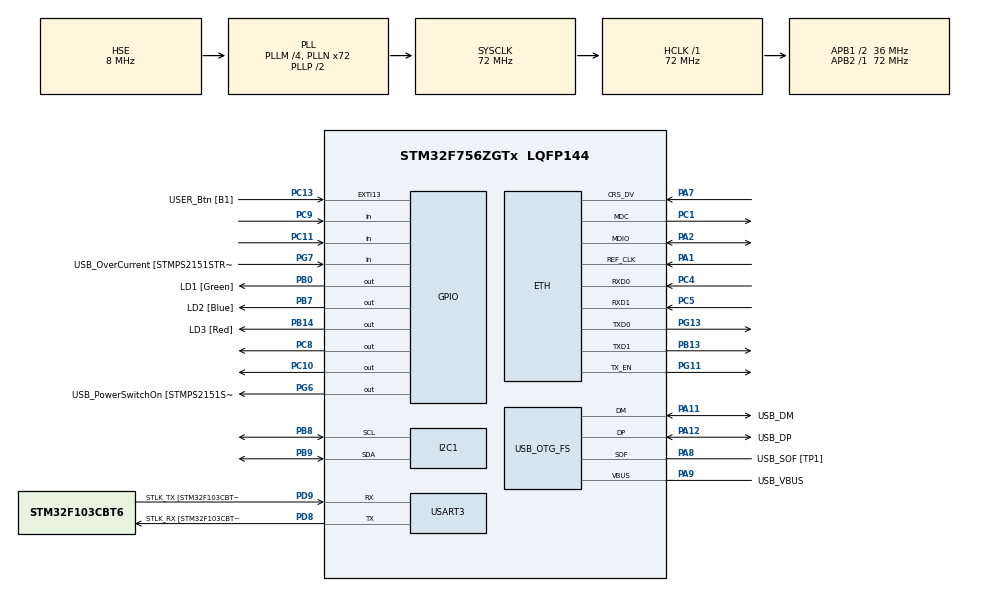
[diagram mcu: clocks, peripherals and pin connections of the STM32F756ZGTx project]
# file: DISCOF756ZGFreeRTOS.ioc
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CORTEX_M7.Enable-Cortex_Memory_Protection_Unit_Region0_Settings=MPU_REGION_ENABLE
CORTEX_M7.MPU_Control=MPU_PRIVILEGED_DEFAULT
CORTEX_M7.Size-Cortex_Memory_Protection_Unit_Region0_Settings=MPU_REGION_SIZE_32B
CORTEX_M7.default_mode_Activation=1
CRYP.Algorithm=CRYP_AES_GCM
ETH.MediaInterface=HAL_ETH_RMII_MODE
FREERTOS.Queues01=flashQueue,1,uint32_t,0,Dynamic,NULL,NULL
FREERTOS.Tasks01=defaultTask,0,4096,StartDefaultTask,Default,NULL,Dynamic,NULL,NULL;InputTask,0,4096,StartInputTask,Default,NULL,Dynamic,NULL,NULL;mqtt_task,-2,16384,Handle_MQTT,Default,NULL,Dynamic,NULL,NULL;networkTask,0,8192,NetworkTask_Cycle,Default,NULL,Dynamic,NULL,NULL;saveFlash,-1,512,SaveFlashMemory,Default,NULL,Dynamic,NULL,NULL
FREERTOS.configTOTAL_HEAP_SIZE=163840
FREERTOS.configUSE_NEWLIB_REENTRANT=1
HASH.SecureHashAlgorithmType=SHA256
HASH.pKey=__NULL
I2C1.Timing=0x00808CD2
LWIP.BSP.number=1
LWIP.CMSIS_VERSION-Enabled=1
LWIP.DEFAULT_THREAD_STACKSIZE=2048
LWIP.GATEWAY_ADDRESS=192.168.002.001
LWIP.IP_ADDRESS=192.168.002.168
LWIP.LWIP_ALTCP=1
LWIP.LWIP_ALTCP_TLS=1
LWIP.LWIP_DHCP=0
LWIP.LWIP_HTTPD=1
LWIP.LWIP_SMTP=0
LWIP.LWIP_SNTP=1
LWIP.MEMP_NUM_SYS_TIMEOUT=15
LWIP.MEMP_NUM_TCP_PCB=8
LWIP.MEM_SIZE=10*1024
LWIP.NETMASK_ADDRESS=255.255.255.000
LWIP.TCPIP_THREAD_PRIO=5
LWIP.TCPIP_THREAD_STACKSIZE=4096
LWIP.Version=v2.1.2_Cube
LWIP0.BSP.STBoard=false
LWIP0.BSP.api=BSP_COMPONENT_DRIVER
LWIP0.BSP.component=LAN8742
LWIP0.BSP.instance=LAN8742
LWIP0.BSP.name=Driver_PHY
LWIP0.BSP.semaphore=S_LAN8742
LWIP0.BSP.solution=LAN8742
Mcu.Family=STM32F7
Mcu.Name=STM32F756ZGTx
Mcu.Package=LQFP144
NVIC.ETH_IRQn=true\:5\:0\:false\:false\:true\:true\:false\:true\:true
NVIC.PriorityGroup=NVIC_PRIORITYGROUP_4
NVIC.TIM6_DAC_IRQn=true\:15\:0\:false\:false\:true\:false\:false\:true\:true
NVIC.TimeBase=TIM6_DAC_IRQn
NVIC.TimeBaseIP=TIM6
PA1.GPIO_Mode=GPIO_MODE_AF_PP
PA1.GPIO_PuPd=GPIO_NOPULL
PA1.GPIO_Speed_Default_HIGH=GPIO_SPEED_FREQ_HIGH
PA1.Mode=RMII
PA1.Signal=ETH_REF_CLK
PA10.GPIO_Label=USB_ID
PA10.Signal=USB_OTG_FS_ID
PA11.GPIO_Label=USB_DM
PA11.Mode=Device_Only
PA11.Signal=USB_OTG_FS_DM
PA12.GPIO_Label=USB_DP
PA12.Mode=Device_Only
PA12.Signal=USB_OTG_FS_DP
PA13.GPIO_Label=TMS
PA13.Mode=Serial_Wire
PA13.Signal=SYS_JTMS-SWDIO
PA14.GPIO_Label=TCK
PA14.Mode=Serial_Wire
PA14.Signal=SYS_JTCK-SWCLK
PA2.GPIO_Mode=GPIO_MODE_AF_PP
PA2.GPIO_PuPd=GPIO_NOPULL
PA2.GPIO_Speed_Default_HIGH=GPIO_SPEED_FREQ_HIGH
PA2.Mode=RMII
PA2.Signal=ETH_MDIO
PA7.GPIO_Mode=GPIO_MODE_AF_PP
PA7.GPIO_PuPd=GPIO_NOPULL
PA7.GPIO_Speed_Default_HIGH=GPIO_SPEED_FREQ_HIGH
PA7.Mode=RMII
PA7.Signal=ETH_CRS_DV
PA8.GPIO_Label=USB_SOF [TP1]
PA8.Mode=Activate_SOF_FS
PA8.Signal=USB_OTG_FS_SOF
PA9.GPIO_Label=USB_VBUS
PA9.Mode=Activate_VBUS
PA9.Signal=USB_OTG_FS_VBUS
PB0.GPIO_Label=LD1 [Green]
PB0.Signal=GPIO_Output
PB13.GPIO_Mode=GPIO_MODE_AF_PP
PB13.GPIO_PuPd=GPIO_NOPULL
PB13.GPIO_Speed_Default_HIGH=GPIO_SPEED_FREQ_HIGH
PB13.Mode=RMII
PB13.Signal=ETH_TXD1
PB14.GPIO_Label=LD3 [Red]
PB14.Signal=GPIO_Output
PB3.GPIO_Label=SW0
PB3.Signal=SYS_JTDO-SWO
PB7.GPIO_Label=LD2 [Blue]
PB7.Signal=GPIO_Output
PB8.Mode=I2C
PB8.Signal=I2C1_SCL
PB9.Mode=I2C
PB9.Signal=I2C1_SDA
PC1.GPIO_Mode=GPIO_MODE_AF_PP
PC1.GPIO_PuPd=GPIO_NOPULL
PC1.GPIO_Speed_Default_HIGH=GPIO_SPEED_FREQ_HIGH
PC1.Mode=RMII
PC1.Signal=ETH_MDC
PC10.Signal=GPIO_Output
PC11.GPIO_PuPd=GPIO_PULLUP
PC11.Signal=GPIO_Input
PC13.GPIO_Label=USER_Btn [B1]
PC13.Signal=GPXTI13
PC14/OSC32_IN.Mode=LSE-External-Oscillator
PC14/OSC32_IN.Signal=RCC_OSC32_IN
PC15/OSC32_OUT.Mode=LSE-External-Oscillator
PC15/OSC32_OUT.Signal=RCC_OSC32_OUT
PC4.GPIO_Mode=GPIO_MODE_AF_PP
PC4.GPIO_PuPd=GPIO_NOPULL
PC4.GPIO_Speed_Default_HIGH=GPIO_SPEED_FREQ_HIGH
PC4.Mode=RMII
PC4.Signal=ETH_RXD0
PC5.GPIO_Mode=GPIO_MODE_AF_PP
PC5.GPIO_PuPd=GPIO_NOPULL
PC5.GPIO_Speed_Default_HIGH=GPIO_SPEED_FREQ_HIGH
PC5.Mode=RMII
PC5.Signal=ETH_RXD1
PC8.Signal=GPIO_Output
PC9.GPIO_PuPd=GPIO_PULLUP
PC9.Signal=GPIO_Input
PD8.GPIO_Label=STLK_RX [STM32F103CBT6_PA3]
PD8.Mode=Asynchronous
PD8.Signal=USART3_TX
PD9.GPIO_Label=STLK_TX [STM32F103CBT6_PA2]
PD9.Mode=Asynchronous
PD9.Signal=USART3_RX
PG11.GPIO_Mode=GPIO_MODE_AF_PP
PG11.GPIO_PuPd=GPIO_NOPULL
PG11.GPIO_Speed_Default_HIGH=GPIO_SPEED_FREQ_HIGH
PG11.Mode=RMII
PG11.Signal=ETH_TX_EN
PG13.GPIO_Mode=GPIO_MODE_AF_PP
PG13.GPIO_PuPd=GPIO_NOPULL
PG13.GPIO_Speed_Default_HIGH=GPIO_SPEED_FREQ_HIGH
PG13.Mode=RMII
PG13.Signal=ETH_TXD0
PG6.GPIO_Label=USB_PowerSwitchOn [STMPS2151STR_EN]
PG6.Signal=GPIO_Output
PG7.GPIO_Label=USB_OverCurrent [STMPS2151STR_FAULT]
PG7.Signal=GPIO_Input
PH0/OSC_IN.GPIO_Label=MCO [STM32F103CBT6_PA8]
PH0/OSC_IN.Mode=HSE-External-Clock-Source
PH0/OSC_IN.Signal=RCC_OSC_IN
PH1/OSC_OUT.Mode=HSE-External-Clock-Source
PH1/OSC_OUT.Signal=RCC_OSC_OUT
ProjectManager.HeapSize=0x200
ProjectManager.StackSize=0x400
ProjectManager.TargetToolchain=STM32CubeIDE
RCC.48MHZClocksFreq_Value=24000000
RCC.AHBFreq_Value=72000000
RCC.APB1CLKDivider=RCC_HCLK_DIV2
RCC.APB1Freq_Value=36000000
RCC.APB1TimFreq_Value=72000000
RCC.APB2Freq_Value=72000000
RCC.APB2TimFreq_Value=72000000
RCC.CortexFreq_Value=72000000
RCC.HCLKFreq_Value=72000000
RCC.HSE_VALUE=8000000
RCC.HSI_VALUE=16000000
RCC.PLLM=4
RCC.PLLMUL=RCC_PLL_MUL9
RCC.PLLN=72
RCC.PLLQ=3
RCC.PRESCALERUSB=RCC_USBCLKSOURCE_PLL_DIV1_5
RCC.RTCClockSelection=RCC_RTCCLKSOURCE_LSE
RCC.SYSCLKFreq_VALUE=72000000
RCC.SYSCLKSource=RCC_SYSCLKSOURCE_PLLCLK
RCC.SYSCLKSourceVirtual=RCC_SYSCLKSOURCE_PLLCLK
RCC.USBFreq_Value=48000000
RCC.VCOOutputFreq_Value=144000000
USART3.VirtualMode-Asynchronous=VM_ASYNC
USB_OTG_FS.VirtualMode=Device_Only
VP_CRYP_VS_CRYP.Mode=CRYP_Activate
VP_FREERTOS_VS_CMSIS_V1.Mode=CMSIS_V1
VP_HASH_VS_HASH.Mode=HASH_Activate
VP_LWIP_VS_Enabled.Mode=Enabled
VP_MBEDTLS_VS_MBEDTLS.Mode=Enabled
VP_RNG_VS_RNG.Mode=RNG_Activate
VP_RTC_VS_RTC_Activate.Mode=RTC_Enabled
VP_RTC_VS_RTC_Calendar.Mode=RTC_Calendar
VP_SYS_VS_tim6.Mode=TIM6
board=NUCLEO-F756ZG

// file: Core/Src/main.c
/* USER CODE BEGIN Header */
/**
  ******************************************************************************
  * @file           : main.c
  * @brief          : Main program body
  ******************************************************************************
  * @attention
  *
  * Copyright (c) 2026 STMicroelectronics.
  * All rights reserved.
  *
  * This software is licensed under terms that can be found in the LICENSE file
  * in the root directory of this software component.
  * If no LICENSE file comes with this software, it is provided AS-IS.
  *
  ******************************************************************************
  */
/* USER CODE END Header */
#include "main.h"
#include "cmsis_os.h"
#include "mbedtls.h"

/* USER CODE BEGIN Includes */
#include "cycle.h"
#include "stdio.h"
#include "stm32f7xx_hal.h"
#include "core_cm7.h" // ITM_SendChar

#include "mqtt.h"
#include "NetworkCycle.h"

#include "saveFlashCycle.h"

#include "utils.h"

/* USER CODE END Includes */

/* USER CODE BEGIN PD */
osSemaphoreId sntpSyncSemHandle; //semaforo per sincronizzazione SNTP e TLS
RNG_HandleTypeDef hrng;

/* USER CODE END PD */

CRYP_HandleTypeDef hcryp;
__ALIGN_BEGIN static const uint32_t pKeyCRYP[4] __ALIGN_END = {
                            0x00000000,0x00000000,0x00000000,0x00000000};
__ALIGN_BEGIN static const uint32_t pInitVectCRYP[4] __ALIGN_END = {
                            0x00000000,0x00000000,0x00000000,0x00000002};
__ALIGN_BEGIN static const uint32_t HeaderCRYP[1] __ALIGN_END = {
                            0x00000000};

HASH_HandleTypeDef hhash;

I2C_HandleTypeDef hi2c1;

RNG_HandleTypeDef hrng;

RTC_HandleTypeDef hrtc;

UART_HandleTypeDef huart3;

PCD_HandleTypeDef hpcd_USB_OTG_FS;

osThreadId defaultTaskHandle;
osThreadId InputTaskHandle;
osThreadId mqtt_taskHandle;
osThreadId networkTaskHandle;
osThreadId saveFlashHandle;
osMessageQId flashQueueHandle;
/* USER CODE BEGIN PV */

extern void MX_LWIP_Init(void);

/* USER CODE END PV */

void SystemClock_Config(void);
static void MPU_Config(void);
static void MX_GPIO_Init(void);
static void MX_I2C1_Init(void);
static void MX_USART3_UART_Init(void);
static void MX_USB_OTG_FS_PCD_Init(void);
static void MX_RTC_Init(void);
static void MX_CRYP_Init(void);
static void MX_HASH_Init(void);
static void MX_RNG_Init(void);
void StartDefaultTask(void const * argument);
void StartInputTask(void const * argument);
void Handle_MQTT(void const * argument);
void NetworkTask_Cycle(void const * argument);
void SaveFlashMemory(void const * argument);

/* USER CODE BEGIN 0 */
int _write(int file, char *ptr, int len)
{
    for (int i = 0; i < len; i++)
        ITM_SendChar(ptr[i]);
    return len;
}

/* USER CODE END 0 */

int main(void)
{

  /* MPU Configuration--------------------------------------------------------*/
  MPU_Config();

  /* MCU Configuration--------------------------------------------------------*/

  /* Reset of all peripherals, Initializes the Flash interface and the Systick. */
  HAL_Init();

  /* Configure the system clock */
  SystemClock_Config();

  /* Initialize all configured peripherals */
  MX_GPIO_Init();
  MX_I2C1_Init();
  MX_USART3_UART_Init();
  MX_USB_OTG_FS_PCD_Init();
  MX_RTC_Init();
  MX_CRYP_Init();
  MX_HASH_Init();
  MX_RNG_Init();
  /* Call PreOsInit function */
  MX_MBEDTLS_Init();
  /* USER CODE BEGIN 2 */

  //semaforo per sincronizzazione SNTP con TLS
  osSemaphoreDef(sntpSyncSem);
  sntpSyncSemHandle = osSemaphoreCreate(osSemaphore(sntpSyncSem), 1);
  osSemaphoreWait(sntpSyncSemHandle, 0);

  /* USER CODE END 2 */

  /* Create the queue(s) */
  /* definition and creation of flashQueue */
  osMessageQDef(flashQueue, 1, uint32_t);
  flashQueueHandle = osMessageCreate(osMessageQ(flashQueue), NULL);

  /* Create the thread(s) */
  /* definition and creation of defaultTask */
  osThreadDef(defaultTask, StartDefaultTask, osPriorityNormal, 0, 4096);
  defaultTaskHandle = osThreadCreate(osThread(defaultTask), NULL);

  /* definition and creation of InputTask */
  osThreadDef(InputTask, StartInputTask, osPriorityNormal, 0, 4096);
  InputTaskHandle = osThreadCreate(osThread(InputTask), NULL);

  /* definition and creation of mqtt_task */
  osThreadDef(mqtt_task, Handle_MQTT, osPriorityLow, 0, 16384);
  mqtt_taskHandle = osThreadCreate(osThread(mqtt_task), NULL);

  /* definition and creation of networkTask */
  osThreadDef(networkTask, NetworkTask_Cycle, osPriorityNormal, 0, 8192);
  networkTaskHandle = osThreadCreate(osThread(networkTask), NULL);

  /* definition and creation of saveFlash */
  osThreadDef(saveFlash, SaveFlashMemory, osPriorityBelowNormal, 0, 512);
  saveFlashHandle = osThreadCreate(osThread(saveFlash), NULL);

  /* Start scheduler */
  osKernelStart();

  /* We should never get here as control is now taken by the scheduler */

  /* Infinite loop */
  while (1)
  {

  }
}

void SystemClock_Config(void)
{
  RCC_OscInitTypeDef RCC_OscInitStruct = {0};
  RCC_ClkInitTypeDef RCC_ClkInitStruct = {0};

  /** Configure LSE Drive Capability
  */
  HAL_PWR_EnableBkUpAccess();
  __HAL_RCC_LSEDRIVE_CONFIG(RCC_LSEDRIVE_LOW);

  /** Configure the main internal regulator output voltage
  */
  __HAL_RCC_PWR_CLK_ENABLE();
  __HAL_PWR_VOLTAGESCALING_CONFIG(PWR_REGULATOR_VOLTAGE_SCALE3);

  /** Initializes the RCC Oscillators according to the specified parameters
  * in the RCC_OscInitTypeDef structure.
  */
  RCC_OscInitStruct.OscillatorType = RCC_OSCILLATORTYPE_HSE|RCC_OSCILLATORTYPE_LSE;
  RCC_OscInitStruct.HSEState = RCC_HSE_BYPASS;
  RCC_OscInitStruct.LSEState = RCC_LSE_ON;
  RCC_OscInitStruct.PLL.PLLState = RCC_PLL_ON;
  RCC_OscInitStruct.PLL.PLLSource = RCC_PLLSOURCE_HSE;
  RCC_OscInitStruct.PLL.PLLM = 4;
  RCC_OscInitStruct.PLL.PLLN = 72;
  RCC_OscInitStruct.PLL.PLLP = RCC_PLLP_DIV2;
  RCC_OscInitStruct.PLL.PLLQ = 3;
  if (HAL_RCC_OscConfig(&RCC_OscInitStruct) != HAL_OK)
  {
    Error_Handler();
  }

  /** Initializes the CPU, AHB and APB buses clocks
  */
  RCC_ClkInitStruct.ClockType = RCC_CLOCKTYPE_HCLK|RCC_CLOCKTYPE_SYSCLK
                              |RCC_CLOCKTYPE_PCLK1|RCC_CLOCKTYPE_PCLK2;
  RCC_ClkInitStruct.SYSCLKSource = RCC_SYSCLKSOURCE_PLLCLK;
  RCC_ClkInitStruct.AHBCLKDivider = RCC_SYSCLK_DIV1;
  RCC_ClkInitStruct.APB1CLKDivider = RCC_HCLK_DIV2;
  RCC_ClkInitStruct.APB2CLKDivider = RCC_HCLK_DIV1;

  if (HAL_RCC_ClockConfig(&RCC_ClkInitStruct, FLASH_LATENCY_2) != HAL_OK)
  {
    Error_Handler();
  }
}

static void MX_CRYP_Init(void)
{

  hcryp.Instance = CRYP;
  hcryp.Init.DataType = CRYP_DATATYPE_32B;
  hcryp.Init.KeySize = CRYP_KEYSIZE_128B;
  hcryp.Init.pKey = (uint32_t *)pKeyCRYP;
  hcryp.Init.pInitVect = (uint32_t *)pInitVectCRYP;
  hcryp.Init.Algorithm = CRYP_AES_GCM;
  hcryp.Init.Header = (uint32_t *)HeaderCRYP;
  hcryp.Init.HeaderSize = 1;
  hcryp.Init.DataWidthUnit = CRYP_DATAWIDTHUNIT_WORD;
  if (HAL_CRYP_Init(&hcryp) != HAL_OK)
  {
    Error_Handler();
  }

}

static void MX_HASH_Init(void)
{

  hhash.Init.DataType = HASH_DATATYPE_32B;
  if (HAL_HASH_Init(&hhash) != HAL_OK)
  {
    Error_Handler();
  }

}

static void MX_I2C1_Init(void)
{

  hi2c1.Instance = I2C1;
  hi2c1.Init.Timing = 0x00808CD2;
  hi2c1.Init.OwnAddress1 = 0;
  hi2c1.Init.AddressingMode = I2C_ADDRESSINGMODE_7BIT;
  hi2c1.Init.DualAddressMode = I2C_DUALADDRESS_DISABLE;
  hi2c1.Init.OwnAddress2 = 0;
  hi2c1.Init.OwnAddress2Masks = I2C_OA2_NOMASK;
  hi2c1.Init.GeneralCallMode = I2C_GENERALCALL_DISABLE;
  hi2c1.Init.NoStretchMode = I2C_NOSTRETCH_DISABLE;
  if (HAL_I2C_Init(&hi2c1) != HAL_OK)
  {
    Error_Handler();
  }

  /** Configure Analogue filter
  */
  if (HAL_I2CEx_ConfigAnalogFilter(&hi2c1, I2C_ANALOGFILTER_ENABLE) != HAL_OK)
  {
    Error_Handler();
  }

  /** Configure Digital filter
  */
  if (HAL_I2CEx_ConfigDigitalFilter(&hi2c1, 0) != HAL_OK)
  {
    Error_Handler();
  }

}

static void MX_RNG_Init(void)
{

  hrng.Instance = RNG;
  if (HAL_RNG_Init(&hrng) != HAL_OK)
  {
    Error_Handler();
  }

}

static void MX_RTC_Init(void)
{

  RTC_TimeTypeDef sTime = {0};
  RTC_DateTypeDef sDate = {0};

  /** Initialize RTC Only
  */
  hrtc.Instance = RTC;
  hrtc.Init.HourFormat = RTC_HOURFORMAT_24;
  hrtc.Init.AsynchPrediv = 127;
  hrtc.Init.SynchPrediv = 255;
  hrtc.Init.OutPut = RTC_OUTPUT_DISABLE;
  hrtc.Init.OutPutPolarity = RTC_OUTPUT_POLARITY_HIGH;
  hrtc.Init.OutPutType = RTC_OUTPUT_TYPE_OPENDRAIN;
  if (HAL_RTC_Init(&hrtc) != HAL_OK)
  {
    Error_Handler();
  }

  /** Initialize RTC and set the Time and Date
  */
  sTime.Hours = 0x0;
  sTime.Minutes = 0x0;
  sTime.Seconds = 0x0;
  sTime.DayLightSaving = RTC_DAYLIGHTSAVING_NONE;
  sTime.StoreOperation = RTC_STOREOPERATION_RESET;
  if (HAL_RTC_SetTime(&hrtc, &sTime, RTC_FORMAT_BCD) != HAL_OK)
  {
    Error_Handler();
  }
  sDate.WeekDay = RTC_WEEKDAY_MONDAY;
  sDate.Month = RTC_MONTH_JANUARY;
  sDate.Date = 0x1;
  sDate.Year = 0x0;

  if (HAL_RTC_SetDate(&hrtc, &sDate, RTC_FORMAT_BCD) != HAL_OK)
  {
    Error_Handler();
  }

}

static void MX_USART3_UART_Init(void)
{

  huart3.Instance = USART3;
  huart3.Init.BaudRate = 115200;
  huart3.Init.WordLength = UART_WORDLENGTH_8B;
  huart3.Init.StopBits = UART_STOPBITS_1;
  huart3.Init.Parity = UART_PARITY_NONE;
  huart3.Init.Mode = UART_MODE_TX_RX;
  huart3.Init.HwFlowCtl = UART_HWCONTROL_NONE;
  huart3.Init.OverSampling = UART_OVERSAMPLING_16;
  huart3.Init.OneBitSampling = UART_ONE_BIT_SAMPLE_DISABLE;
  huart3.AdvancedInit.AdvFeatureInit = UART_ADVFEATURE_NO_INIT;
  if (HAL_UART_Init(&huart3) != HAL_OK)
  {
    Error_Handler();
  }

}

static void MX_USB_OTG_FS_PCD_Init(void)
{

  hpcd_USB_OTG_FS.Instance = USB_OTG_FS;
  hpcd_USB_OTG_FS.Init.dev_endpoints = 6;
  hpcd_USB_OTG_FS.Init.speed = PCD_SPEED_FULL;
  hpcd_USB_OTG_FS.Init.dma_enable = DISABLE;
  hpcd_USB_OTG_FS.Init.phy_itface = PCD_PHY_EMBEDDED;
  hpcd_USB_OTG_FS.Init.Sof_enable = ENABLE;
  hpcd_USB_OTG_FS.Init.low_power_enable = DISABLE;
  hpcd_USB_OTG_FS.Init.lpm_enable = DISABLE;
  hpcd_USB_OTG_FS.Init.vbus_sensing_enable = ENABLE;
  hpcd_USB_OTG_FS.Init.use_dedicated_ep1 = DISABLE;
  if (HAL_PCD_Init(&hpcd_USB_OTG_FS) != HAL_OK)
  {
    Error_Handler();
  }

}

static void MX_GPIO_Init(void)
{
  GPIO_InitTypeDef GPIO_InitStruct = {0};

  /* GPIO Ports Clock Enable */
  __HAL_RCC_GPIOC_CLK_ENABLE();
  __HAL_RCC_GPIOH_CLK_ENABLE();
  __HAL_RCC_GPIOA_CLK_ENABLE();
  __HAL_RCC_GPIOB_CLK_ENABLE();
  __HAL_RCC_GPIOD_CLK_ENABLE();
  __HAL_RCC_GPIOG_CLK_ENABLE();

  /*Configure GPIO pin Output Level */
  HAL_GPIO_WritePin(GPIOB, LD1_Pin|LD3_Pin|LD2_Pin, GPIO_PIN_RESET);

  /*Configure GPIO pin Output Level */
  HAL_GPIO_WritePin(USB_PowerSwitchOn_GPIO_Port, USB_PowerSwitchOn_Pin, GPIO_PIN_RESET);

  /*Configure GPIO pin Output Level */
  HAL_GPIO_WritePin(GPIOC, GPIO_PIN_8|GPIO_PIN_10, GPIO_PIN_RESET);

  /*Configure GPIO pin : USER_Btn_Pin */
  GPIO_InitStruct.Pin = USER_Btn_Pin;
  GPIO_InitStruct.Mode = GPIO_MODE_IT_RISING;
  GPIO_InitStruct.Pull = GPIO_NOPULL;
  HAL_GPIO_Init(USER_Btn_GPIO_Port, &GPIO_InitStruct);

  /*Configure GPIO pins : LD1_Pin LD3_Pin LD2_Pin */
  GPIO_InitStruct.Pin = LD1_Pin|LD3_Pin|LD2_Pin;
  GPIO_InitStruct.Mode = GPIO_MODE_OUTPUT_PP;
  GPIO_InitStruct.Pull = GPIO_NOPULL;
  GPIO_InitStruct.Speed = GPIO_SPEED_FREQ_LOW;
  HAL_GPIO_Init(GPIOB, &GPIO_InitStruct);

  /*Configure GPIO pin : USB_PowerSwitchOn_Pin */
  GPIO_InitStruct.Pin = USB_PowerSwitchOn_Pin;
  GPIO_InitStruct.Mode = GPIO_MODE_OUTPUT_PP;
  GPIO_InitStruct.Pull = GPIO_NOPULL;
  GPIO_InitStruct.Speed = GPIO_SPEED_FREQ_LOW;
  HAL_GPIO_Init(USB_PowerSwitchOn_GPIO_Port, &GPIO_InitStruct);

  /*Configure GPIO pin : USB_OverCurrent_Pin */
  GPIO_InitStruct.Pin = USB_OverCurrent_Pin;
  GPIO_InitStruct.Mode = GPIO_MODE_INPUT;
  GPIO_InitStruct.Pull = GPIO_NOPULL;
  HAL_GPIO_Init(USB_OverCurrent_GPIO_Port, &GPIO_InitStruct);

  /*Configure GPIO pins : PC8 PC10 */
  GPIO_InitStruct.Pin = GPIO_PIN_8|GPIO_PIN_10;
  GPIO_InitStruct.Mode = GPIO_MODE_OUTPUT_PP;
  GPIO_InitStruct.Pull = GPIO_NOPULL;
  GPIO_InitStruct.Speed = GPIO_SPEED_FREQ_LOW;
  HAL_GPIO_Init(GPIOC, &GPIO_InitStruct);

  /*Configure GPIO pins : PC9 PC11 */
  GPIO_InitStruct.Pin = GPIO_PIN_9|GPIO_PIN_11;
  GPIO_InitStruct.Mode = GPIO_MODE_INPUT;
  GPIO_InitStruct.Pull = GPIO_PULLUP;
  HAL_GPIO_Init(GPIOC, &GPIO_InitStruct);

}

void StartDefaultTask(void const * argument)
{
  /* USER CODE BEGIN 5 */
  /* Infinite loop */
  for(;;)
  {
	  osDelay(5);
  }
  /* USER CODE END 5 */
}

void StartInputTask(void const * argument)
{
  /* USER CODE BEGIN StartInputTask */
  /* Infinite loop */
  for(;;)
  {
	Cycle_HandleInput(); //funzione di gestione ciclica su file cycle.c
    osDelay(20);
  }

  /* USER CODE END StartInputTask */
}

void Handle_MQTT(void const * argument)
{
  /* USER CODE BEGIN Handle_MQTT */
  /* Infinite loop */
	//
	osDelay(2000); //piccolo ritardo per aspettare l'inizializzazione di LWIP
	MQTT_Cycle();

  /* USER CODE END Handle_MQTT */
}

void NetworkTask_Cycle(void const * argument)
{
  /* USER CODE BEGIN NetworkTask_Cycle */
  /* Infinite loop */
	MX_LWIP_Init(); //NB: importantissima inizializzazione di lwIP
	printf("LwIP inizializzato correttamente!\r\n");
	for(;;)
	{
	  //printf("Task network!\r\n");
	  Network_Cycle();
	  osDelay(10);
	}
  /* USER CODE END NetworkTask_Cycle */
}

void SaveFlashMemory(void const * argument)
{
  /* USER CODE BEGIN SaveFlashMemory */

	osEvent event;

	//recupero valori ultimi dalla flash
	uint32_t counter[7];
	uint8_t val = Flash_Read(counter);

	if(val != -1)
	{
		//imposta ora
		set_rtc_manual((uint8_t)counter[6], (uint8_t)counter[5], (uint8_t)counter[4], (uint8_t)counter[3], (uint8_t)counter[2], (uint8_t)counter[1]);

		printf("Flash: Valore scritto %lu ----\r\n", counter[0]);
	}

  /* Infinite loop */
  for(;;)
  {
	  StartButtonTask(&event);
	  osDelay(10);
  }
  /* USER CODE END SaveFlashMemory */
}

 /* MPU Configuration */

void MPU_Config(void)
{
  MPU_Region_InitTypeDef MPU_InitStruct = {0};

  /* Disables the MPU */
  HAL_MPU_Disable();

  /** Initializes and configures the Region and the memory to be protected
  */
  MPU_InitStruct.Enable = MPU_REGION_ENABLE;
  MPU_InitStruct.Number = MPU_REGION_NUMBER0;
  MPU_InitStruct.BaseAddress = 0x0;
  MPU_InitStruct.Size = MPU_REGION_SIZE_4GB;
  MPU_InitStruct.SubRegionDisable = 0x87;
  MPU_InitStruct.TypeExtField = MPU_TEX_LEVEL0;
  MPU_InitStruct.AccessPermission = MPU_REGION_NO_ACCESS;
  MPU_InitStruct.DisableExec = MPU_INSTRUCTION_ACCESS_DISABLE;
  MPU_InitStruct.IsShareable = MPU_ACCESS_SHAREABLE;
  MPU_InitStruct.IsCacheable = MPU_ACCESS_NOT_CACHEABLE;
  MPU_InitStruct.IsBufferable = MPU_ACCESS_NOT_BUFFERABLE;

  HAL_MPU_ConfigRegion(&MPU_InitStruct);
  /* Enables the MPU */
  HAL_MPU_Enable(MPU_PRIVILEGED_DEFAULT);

}

void HAL_TIM_PeriodElapsedCallback(TIM_HandleTypeDef *htim)
{
  if (htim->Instance == TIM6)
  {
    HAL_IncTick();
  }
}

void Error_Handler(void)
{
  __disable_irq();
  while (1)
  {
  }
}

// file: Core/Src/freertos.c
/* USER CODE BEGIN Header */
/**
  ******************************************************************************
  * File Name          : freertos.c
  * Description        : Code for freertos applications
  ******************************************************************************
  * @attention
  *
  * Copyright (c) 2026 STMicroelectronics.
  * All rights reserved.
  *
  * This software is licensed under terms that can be found in the LICENSE file
  * in the root directory of this software component.
  * If no LICENSE file comes with this software, it is provided AS-IS.
  *
  ******************************************************************************
  */
/* USER CODE END Header */

#include "FreeRTOS.h"
#include "task.h"
#include "main.h"

/* GetIdleTaskMemory prototype (linked to static allocation support) */
void vApplicationGetIdleTaskMemory( StaticTask_t **ppxIdleTaskTCBBuffer, StackType_t **ppxIdleTaskStackBuffer, uint32_t *pulIdleTaskStackSize );

/* USER CODE BEGIN GET_IDLE_TASK_MEMORY */
static StaticTask_t xIdleTaskTCBBuffer;
static StackType_t xIdleStack[configMINIMAL_STACK_SIZE];

void vApplicationGetIdleTaskMemory( StaticTask_t **ppxIdleTaskTCBBuffer, StackType_t **ppxIdleTaskStackBuffer, uint32_t *pulIdleTaskStackSize )
{
  *ppxIdleTaskTCBBuffer = &xIdleTaskTCBBuffer;
  *ppxIdleTaskStackBuffer = &xIdleStack[0];
  *pulIdleTaskStackSize = configMINIMAL_STACK_SIZE;
  /* place for user code */
}
/* USER CODE END GET_IDLE_TASK_MEMORY */
